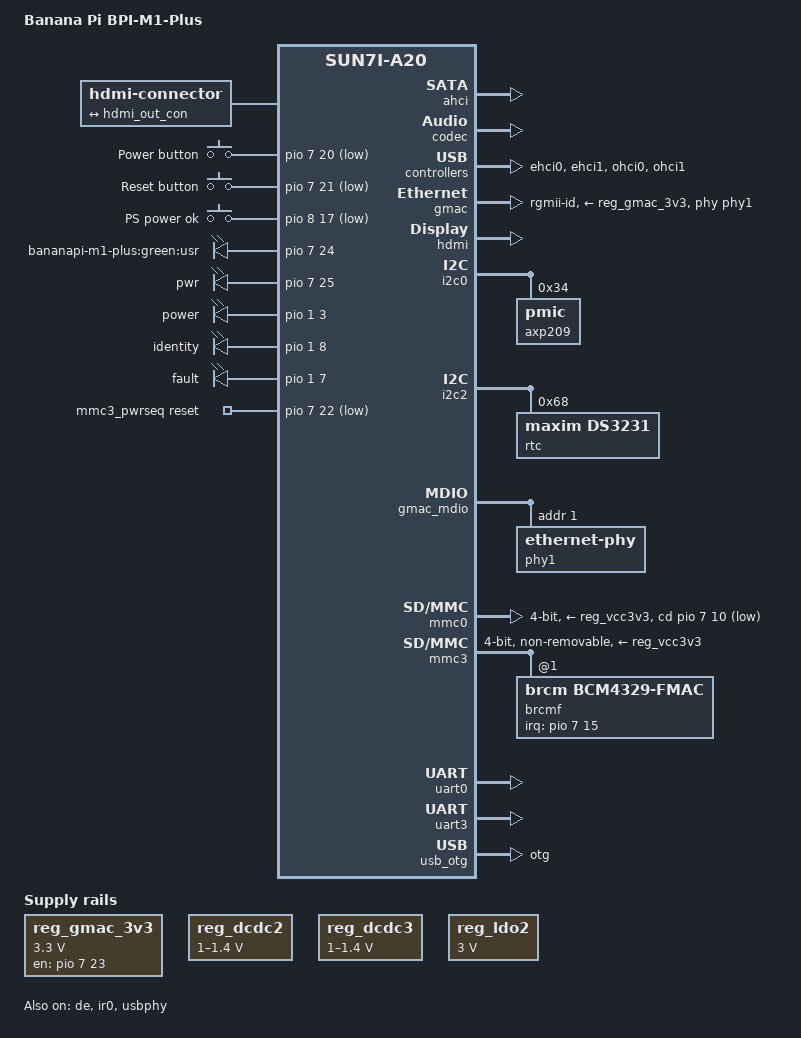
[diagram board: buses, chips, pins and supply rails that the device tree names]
/*
 * Copyright 2016 Luo Yi <luoyi.ly@gmail.com>
 *
 * Thanks to the original work by Hans de Goede <hdegoede@redhat.com>
 *
 * This file is dual-licensed: you can use it either under the terms
 * of the GPL or the X11 license, at your option. Note that this dual
 * licensing only applies to this file, and not this project as a
 * whole.
 *
 *  a) This file is free software; you can redistribute it and/or
 *     modify it under the terms of the GNU General Public License as
 *     published by the Free Software Foundation; either version 2 of the
 *     License, or (at your option) any later version.
 *
 *     This file is distributed in the hope that it will be useful,
 *     but WITHOUT ANY WARRANTY; without even the implied warranty of
 *     MERCHANTABILITY or FITNESS FOR A PARTICULAR PURPOSE.  See the
 *     GNU General Public License for more details.
 *
 * Or, alternatively,
 *
 *  b) Permission is hereby granted, free of charge, to any person
 *     obtaining a copy of this software and associated documentation
 *     files (the "Software"), to deal in the Software without
 *     restriction, including without limitation the rights to use,
 *     copy, modify, merge, publish, distribute, sublicense, and/or
 *     sell copies of the Software, and to permit persons to whom the
 *     Software is furnished to do so, subject to the following
 *     conditions:
 *
 *     The above copyright notice and this permission notice shall be
 *     included in all copies or substantial portions of the Software.
 *
 *     THE SOFTWARE IS PROVIDED "AS IS", WITHOUT WARRANTY OF ANY KIND,
 *     EXPRESS OR IMPLIED, INCLUDING BUT NOT LIMITED TO THE WARRANTIES
 *     OF MERCHANTABILITY, FITNESS FOR A PARTICULAR PURPOSE AND
 *     NONINFRINGEMENT. IN NO EVENT SHALL THE AUTHORS OR COPYRIGHT
 *     HOLDERS BE LIABLE FOR ANY CLAIM, DAMAGES OR OTHER LIABILITY,
 *     WHETHER IN AN ACTION OF CONTRACT, TORT OR OTHERWISE, ARISING
 *     FROM, OUT OF OR IN CONNECTION WITH THE SOFTWARE OR THE USE OR
 *     OTHER DEALINGS IN THE SOFTWARE.
 */

/dts-v1/;
#include "sun7i-a20.dtsi"
#include "sunxi-common-regulators.dtsi"
#include <dt-bindings/gpio/gpio.h>
#include <dt-bindings/interrupt-controller/arm-gic.h>

/ {
	model = "Banana Pi BPI-M1-Plus";
	compatible = "sinovoip,bpi-m1-plus", "allwinner,sun7i-a20";

	aliases {
		serial0 = &uart0;
		serial3 = &uart3;
	};

	chosen {
		stdout-path = "serial0:115200n8";
	};

	hdmi-connector {
		compatible = "hdmi-connector";
		type = "a";

		port {
			hdmi_con_in: endpoint {
				remote-endpoint = <&hdmi_out_con>;
			};
		};
	};
	gpio-keys {
		compatible = "gpio-keys";

		MON_P0_PWR_BTN {
			label = "Power button";
			gpios = <&pio 7 20 GPIO_ACTIVE_LOW>; /* PH20 */
			interrupt-parent = <&pio>;
			interrupts = <7 20 IRQ_TYPE_LEVEL_HIGH>;
			linux,code = <1>;
		};
		MON_P0_RST_BTN {
			label = "Reset button";
			gpios = <&pio 7 21 GPIO_ACTIVE_LOW>; /* PH21 */
			interrupt-parent = <&pio>;
			interrupts = <7 21 IRQ_TYPE_LEVEL_HIGH>;
			linux,code = <2>;
		};
		MON_P0_PWR_GOOD {
			label = "PS power ok";
			gpios = <&pio 8 17 GPIO_ACTIVE_LOW>; /* PI17 */
			interrupt-parent = <&pio>;
			interrupts = <8 17 IRQ_TYPE_LEVEL_HIGH>;
			linux,code = <3>;
		};
	};

	leds {
		compatible = "gpio-leds";

		green {
			label = "bananapi-m1-plus:green:usr";
			gpios = <&pio 7 24 GPIO_ACTIVE_HIGH>;
			linux,default-trigger = "heartbeat";
		};

		pwr {
			gpios = <&pio 7 25 GPIO_ACTIVE_HIGH>;
			default-state = "on";
		};

		power {
			gpios = <&pio 1 3 GPIO_ACTIVE_HIGH>; /* PB3 */
		};

		identity {
			gpios = <&pio 1 8 GPIO_ACTIVE_HIGH>; /* PB8 */
		};

		fault {
			gpios = <&pio 1 7 GPIO_ACTIVE_HIGH>; /* PB7 */
		};
	};

	mmc3_pwrseq: mmc3_pwrseq {
		compatible = "mmc-pwrseq-simple";
		reset-gpios = <&pio 7 22 GPIO_ACTIVE_LOW>; /* PH22 WL-PMU-EN */
	};

	reg_gmac_3v3: gmac-3v3 {
		compatible = "regulator-fixed";
		regulator-name = "gmac-3v3";
		regulator-min-microvolt = <3300000>;
		regulator-max-microvolt = <3300000>;
		startup-delay-us = <100000>;
		enable-active-high;
		gpio = <&pio 7 23 GPIO_ACTIVE_HIGH>;
	};
};

&ahci {
	status = "okay";
};

&codec {
	status = "okay";
};

&cpu0 {
	cpu-supply = <&reg_dcdc2>;
};

&de {
	status = "okay";
};

&ehci0 {
	status = "okay";
};

&ehci1 {
	status = "okay";
};

&gmac {
	pinctrl-names = "default";
	pinctrl-0 = <&gmac_rgmii_pins>;
	phy-handle = <&phy1>;
	phy-mode = "rgmii-id";
	phy-supply = <&reg_gmac_3v3>;
	status = "okay";
};

&hdmi {
	status = "okay";
};

&hdmi_out {
	hdmi_out_con: endpoint {
		remote-endpoint = <&hdmi_con_in>;
	};
};

&i2c0 {
	status = "okay";

	axp209: pmic@34 {
		reg = <0x34>;
		interrupt-parent = <&nmi_intc>;
		interrupts = <0 IRQ_TYPE_LEVEL_LOW>;
	};
};

&i2c2 {
	status = "okay";
	rtc@68 {
		compatible = "maxim,ds3231";
		reg = <0x68>;
	};
};

#include "axp209.dtsi"

&ac_power_supply {
	status = "okay";
};

&ir0 {
	pinctrl-names = "default";
	pinctrl-0 = <&ir0_rx_pin>;
	status = "okay";
};

&gmac_mdio {
	phy1: ethernet-phy@1 {
		reg = <1>;
	};
};

&mmc0 {
	vmmc-supply = <&reg_vcc3v3>;
	bus-width = <4>;
	cd-gpios = <&pio 7 10 GPIO_ACTIVE_LOW>; /* PH10 */
	status = "okay";
};

&mmc3 {
	#address-cells = <1>;
	#size-cells = <0>;
	vmmc-supply = <&reg_vcc3v3>;
	mmc-pwrseq = <&mmc3_pwrseq>;
	bus-width = <4>;
	non-removable;
	wakeup-source;
	status = "okay";

	brcmf: wifi@1 {
		reg = <1>;
		compatible = "brcm,bcm4329-fmac";
		interrupt-parent = <&pio>;
		interrupts = <7 15 IRQ_TYPE_LEVEL_LOW>;
		interrupt-names = "host-wake";
	};
};

&ohci0 {
	status = "okay";
};

&ohci1 {
	status = "okay";
};

&otg_sram {
	status = "okay";
};

&reg_dcdc2 {
	regulator-always-on;
	regulator-min-microvolt = <1000000>;
	regulator-max-microvolt = <1400000>;
	regulator-name = "vdd-cpu";
};

&reg_dcdc3 {
	regulator-always-on;
	regulator-min-microvolt = <1000000>;
	regulator-max-microvolt = <1400000>;
	regulator-name = "vdd-int-dll";
};

&reg_ldo1 {
	regulator-name = "vdd-rtc";
};

&reg_ldo2 {
	regulator-always-on;
	regulator-min-microvolt = <3000000>;
	regulator-max-microvolt = <3000000>;
	regulator-name = "avcc";
};

&reg_usb0_vbus {
	status = "okay";
};

&uart0 {
	pinctrl-names = "default";
	pinctrl-0 = <&uart0_pb_pins>;
	status = "okay";
};

&uart3 {
	pinctrl-names = "default";
	pinctrl-0 = <&uart3_ph_pins>;
	status = "okay";
};


&usb_otg {
	dr_mode = "otg";
	status = "okay";
};

&usb_power_supply {
	status = "okay";
};

&usbphy {
	usb0_id_det-gpios = <&pio 7 4 GPIO_ACTIVE_HIGH>; /* PH4 */
	usb0_vbus_power-supply = <&usb_power_supply>;
	usb0_vbus-supply = <&reg_usb0_vbus>;
	/* VBUS on usb host ports are tied to DC5V and therefore always on */
	status = "okay";
};

&pio {
	vcc-pa-supply = <&reg_vcc3v3>;
	vcc-pc-supply = <&reg_vcc3v3>;
	vcc-pe-supply = <&reg_vcc3v3>;
	vcc-pf-supply = <&reg_vcc3v3>;
	vcc-pg-supply = <&reg_vcc3v3>;
	gpio-line-names =
		/* PA */
		"ERXD3", "ERXD2", "ERXD1", "ERXD0", "ETXD3",
			"ETXD2", "ETXD1", "ETXD0",
		"ERXCK", "ERXERR", "ERXDV", "EMDC", "EMDIO",
			"ETXEN", "ETXCK", "ECRS",
		"ECOL", "ETXERR", "", "", "", "", "", "",
		"", "", "", "", "", "", "", "",
		/* PB */
		"PMU-SCK", "PMU-SDA", "", "POWER_LED", "", "ASSERT_RST_BTN", "ASSERT_PWR_BTN", "FAULT_LED",
		"IDENTITY_LED", "USB0-DRV", "", "", "", "ASSERT_BMC_READY", "", "",
		"", "", "", "", "SCL", "SDA", "", "",
		"", "", "", "", "", "", "", "",
		/* PC */
		"", "", "", "", "", "", "", "",
		"", "", "", "", "", "", "", "",
		"", "", "", "", "", "", "", "",
		"", "", "", "", "", "", "", "",
		/* PD */
		"", "", "", "", "", "", "", "",
		"", "", "", "", "", "", "", "",
		"", "", "", "", "", "", "", "",
		"", "", "", "", "", "", "", "",
		/* PE */
		"", "", "", "", "", "", "", "",
		"", "", "", "", "", "", "", "",
		"", "", "", "", "", "", "", "",
		"", "", "", "", "", "", "", "",
		/* PF */
		"SD0-D1", "SD0-D0", "SD0-CLK", "SD0-CMD", "SD0-D3",
			"SD0-D2", "", "",
		"", "", "", "", "", "", "", "",
		"", "", "", "", "", "", "", "",
		"", "", "", "", "", "", "", "",
		/* PG */
		"", "", "", "", "", "", "", "",
		"", "", "", "", "", "", "", "",
		"", "", "", "", "", "", "", "",
		"", "", "", "", "", "", "", "",
		/* PH */
		"TXD0", "RXD0", "IO-1", "PH3", "USB0-IDDET", "PH5", "", "",
		"", "", "SD0-DET", "", "", "", "", "",
		"", "", "", "", "MON_P0_PWR_BTN", "MON_P0_RST_BTN", "", "EMAC-PWR-EN",
		"LED1", "", "", "", "", "", "", "",
		/* PI */
		"", "", "", "IO-GCLK", "", "", "", "",
		"", "", "POST_COMPLETE", "", "",
			"CHASSIS_ID_BTN", "MON_P0_NMI_BTN", "",
		"", "MON_P0_PWR_GOOD", "", "", "MON_PWROK", "", "", "",
		"", "", "", "", "", "", "", "";
};
